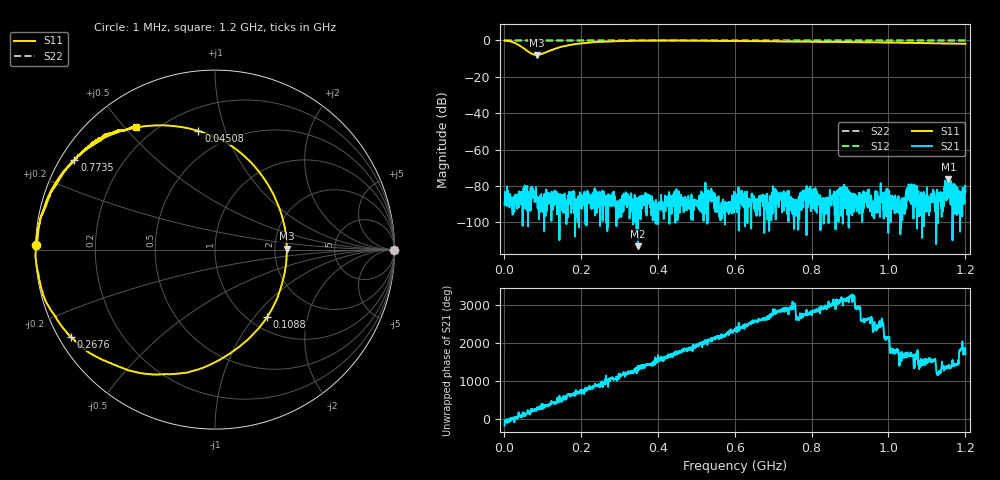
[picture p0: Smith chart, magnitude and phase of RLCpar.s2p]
! Anritsu VNA Master:  Model: MS2025B
! SN:  1642059
! /bd0/PROE/TP1/P2/RLCpar.s2p
! Existing Calibration Information:
! TYPE:  Current Settings,  Active Cal Settings
! TIME:  04/23/2024 09:10:55 AM,  03/12/2018 11:45:53 AM
! INTERNAL TEMP:  43.5 C,  40.8 C
! # POINTS:  1715,  4001
! START FREQ:  1.000 MHz,  1.000 MHz
! STOP FREQ:  1.200 371 500 GHz,  2.800 GHz
! SOURCE POWER:  Default,  Default
! IFBW:  1 kHz,  1 kHz
! AVG FACTOR:  1 ,  1
! REF PLANE 1:  0 mm,  0 mm
! REF PLANE 2:  0 mm,  0 mm
! CAL TYPE:  1P2P S11,S21,  1P2P S11,S21
! CAL METHOD:  SOLT,  SOLT
! CAL LINE TYPE:  Coax,  Coax
! DUT PORT 1:  ,
! DUT PORT 2:  N-Conn(M),  N-Conn(M)
! CAL STATUS:  OK: Accuracy High,  --
# GHZ S MA R 50.0
! FREQ.GHZ  S11M  S11A  S21M  S21A  S12M  S12A  S22M  S22A
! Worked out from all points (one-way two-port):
!   1715 points, 1 MHz to 1.2 GHz, reference 50 ohm
!   highest |S21| = -76.15 dB at 1.156 GHz (marker M1); lowest = -113.2 dB at 348.1 MHz (marker M2)
!   lowest |S11| = -8.0 dB at 84.27 MHz (marker M3), VSWR 2.34, Z = 117 + j1.43 ohm
!   |S11| at or under -10 dB: nowhere
!   |S22| runs from 0.0 to 0.0 dB; largest |S21 - S12| = 1
!   S11 on the Smith chart (normalised r, x): 1 MHz: 0.00, +0.01; 45.08 MHz: 0.34, +0.81; 108.8 MHz: 1.20, -1.17; 267.6 MHz: 0.03, -0.28; 773.5 MHz: 0.04, +0.29; 1.2 GHz: 0.13, +0.54
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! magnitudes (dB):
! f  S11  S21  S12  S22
! 1 MHz  0.0  -90.5  0.0  0.0
! 23.39 MHz  -1.0  -90.4  0.0  0.0
! 45.08 MHz  -3.5  -89.3  0.0  0.0
! 69.58 MHz  -7.1  -93.4  0.0  0.0
! 84.27 MHz  -8.0  -88.0  0.0  0.0
! 94.07 MHz  -7.7  -85.3  0.0  0.0
! 108.8 MHz  -6.5  -84.9  0.0  0.0
! 150 MHz  -3.4  -84.9  0.0  0.0
! 201.1 MHz  -1.6  -90.5  0.0  0.0
! 267.6 MHz  -0.5  -88.4  0.0  0.0
! 348.1 MHz  -0.1  -113.2  0.0  0.0
! 401.3 MHz  0.0  -96.7  0.0  0.0
! 600.7 MHz  -0.3  -89.6  0.0  0.0
! 773.5 MHz  -0.6  -93.3  0.0  0.0
! 800.8 MHz  -0.7  -84.3  0.0  0.0
! 1.001 GHz  -1.1  -83.8  0.0  0.0
! 1.141 GHz  -1.6  -94.3  0.0  0.0
! 1.143 GHz  -1.6  -83.5  0.0  0.0
! 1.15 GHz  -1.6  -85.3  0.0  0.0
! 1.151 GHz  -1.7  -80.4  0.0  0.0
! 1.156 GHz  -1.7  -76.1  0.0  0.0
! 1.2 GHz  -1.8  -83.2  0.0  0.0
